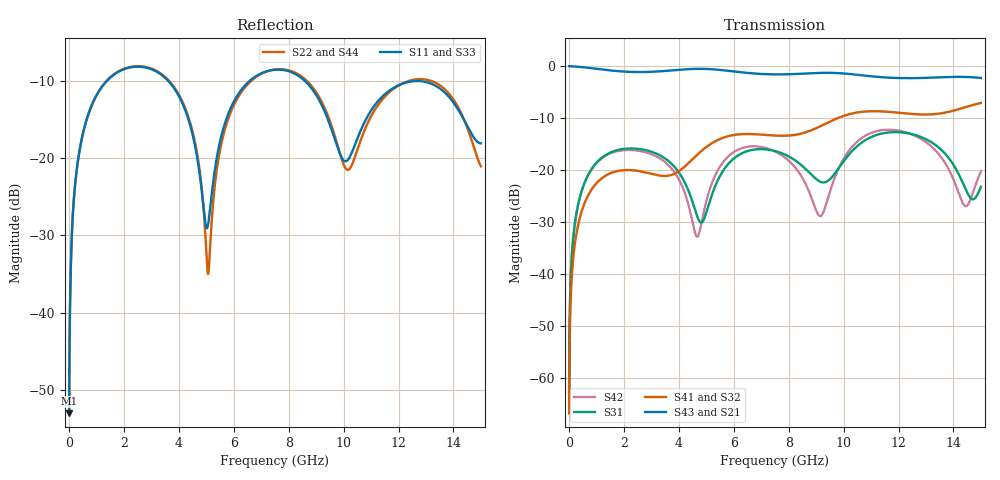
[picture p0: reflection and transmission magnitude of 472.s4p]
! Created with skrf 1.8.0 (http://scikit-rf.org).
# GHz S RI R 50.0
!freq ReS11 ImS11 ReS12 ImS12 ReS13 ImS13
! ReS14 ImS14
! ReS21 ImS21 ReS22 ImS22 ReS23 ImS23
! ReS24 ImS24
! ReS31 ImS31 ReS32 ImS32 ReS33 ImS33
! ReS34 ImS34
! ReS41 ImS41 ReS42 ImS42 ReS43 ImS43
! ReS44 ImS44
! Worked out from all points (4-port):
!   2499 points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, 5 MHz to 15 GHz, reference 50 ohm
!   strongest paths, dB at 5 MHz, 3.476 GHz, 7.19 GHz, 11.1 GHz, 15 GHz:
!     S43: 0.0, -0.9, -1.6, -2.0, -2.3
!     S21: 0.0, -0.9, -1.6, -2.0, -2.3
!     S41: -66.9, -21.2, -13.3, -8.7, -7.1
!     S32: -66.9, -21.2, -13.3, -8.7, -7.1
!     S31: -62.9, -17.7, -16.1, -13.5, -23.3
!     S42: -62.9, -18.4, -15.8, -12.7, -20.3
!   lowest |S11| = -53.0 dB at 5 MHz (marker M1), VSWR 1.00, Z = 50.2 + j0.136 ohm
!   |S11| at or under -10 dB: start of sweep to 1.377 GHz; 3.615 GHz to 6.576 GHz (2.961 GHz wide, 58.1 % of centre); 8.593 GHz to end of sweep
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0.005  0.00178 0.00135  0.9982 -0.00346  9e-05 0.000708  -8.72e-05 -0.000444
       0.9982 -0.00346  0.00178 0.00135  -8.72e-05 -0.000444  8.98e-05 0.000708
       9e-05 0.000708  -8.72e-05 -0.000444  0.00178 0.00135  0.9982 -0.00346
       -8.72e-05 -0.000444  8.98e-05 0.000708  0.9982 -0.00346  0.00178 0.00135
0.3126303  0.0275 0.0882  0.9623 -0.2146  0.0132 0.0415  -0.0107 -0.0257
           0.9623 -0.2146  0.0277 0.0882  -0.0107 -0.0257  0.0125 0.0417
           0.0132 0.0415  -0.0107 -0.0257  0.0275 0.0882  0.9623 -0.2146
           -0.0107 -0.0257  0.0125 0.0417  0.9623 -0.2146  0.0277 0.0882
1.569404  0.2971 0.1658  0.4839 -0.7644  0.1423 0.0455  -0.094 0.00491
          0.4839 -0.7644  0.3002 0.1633  -0.0939 0.00471  0.1339 0.059
          0.1423 0.0455  -0.0939 0.00471  0.2971 0.1657  0.4839 -0.7644
          -0.094 0.00491  0.1339 0.059  0.4839 -0.7644  0.3001 0.1634
5.06461  0.0357 0.00978  -0.9355 -0.0501  -0.0196 0.0397  -0.00278 0.1708
         -0.9355 -0.0501  0.0178 -0.000948  -0.00582 0.1707  0.0334 0.047
         -0.0196 0.0397  -0.00582 0.1707  0.0346 0.0112  -0.9355 -0.0499
         -0.00278 0.1708  0.0334 0.047  -0.9355 -0.0499  0.0185 0.000283
7.678199  0.374 -0.00687  -0.0589 0.8294  0.119 -0.0863  0.209 -0.0424
          -0.0589 0.8294  0.3769 -0.00156  0.2089 -0.0366  0.1222 -0.0722
          0.119 -0.0863  0.2089 -0.0366  0.3753 -0.00632  -0.0597 0.8292
          0.209 -0.0424  0.1222 -0.0722  -0.0597 0.8292  0.3766 -0.00122
10.45436  0.1173 0.0496  0.8245 -0.0574  0.0304 0.1627  -0.0511 -0.3521
          0.8245 -0.0574  0.0997 0.0383  -0.0403 -0.3528  0.0666 0.1703
          0.0304 0.1627  -0.0403 -0.3528  0.1189 0.0522  0.8247 -0.0553
          -0.0511 -0.3521  0.0666 0.1703  0.8247 -0.0553  0.0976 0.0368
15  0.1241 -0.013  -0.7206 -0.2661  -0.0308 0.0612  -0.1356 0.4203
    -0.7206 -0.2661  0.0851 -0.0254  -0.1577 0.4133  -0.0332 0.0906
    -0.0308 0.0612  -0.1577 0.4133  0.1181 -0.0139  -0.7186 -0.2724
    -0.1356 0.4203  -0.0332 0.0906  -0.7186 -0.2724  0.0923 -0.0268
